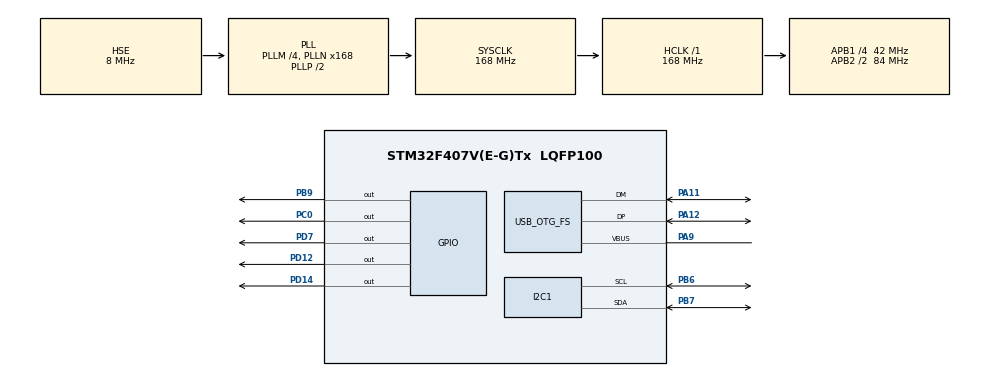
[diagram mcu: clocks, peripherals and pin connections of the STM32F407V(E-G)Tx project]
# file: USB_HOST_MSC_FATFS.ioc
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FATFS._MAX_SS=4096
Mcu.Family=STM32F4
Mcu.Name=STM32F407V(E-G)Tx
Mcu.Package=LQFP100
NVIC.OTG_FS_IRQn=true\:0\:0\:false\:false\:true\:true\:true\:true
NVIC.PriorityGroup=NVIC_PRIORITYGROUP_4
PA11.Mode=Host_Only
PA11.Signal=USB_OTG_FS_DM
PA12.Mode=Host_Only
PA12.Signal=USB_OTG_FS_DP
PA9.Mode=Activate_VBUS
PA9.Signal=USB_OTG_FS_VBUS
PB6.GPIO_Pu=GPIO_PULLUP
PB6.Mode=I2C
PB6.Signal=I2C1_SCL
PB7.GPIO_Pu=GPIO_PULLUP
PB7.Mode=I2C
PB7.Signal=I2C1_SDA
PB9.Signal=GPIO_Output
PC0.Signal=GPIO_Output
PD12.Signal=GPIO_Output
PD14.Signal=GPIO_Output
PD7.Signal=GPIO_Output
PH0-OSC_IN.Mode=HSE-External-Oscillator
PH0-OSC_IN.Signal=RCC_OSC_IN
PH1-OSC_OUT.Mode=HSE-External-Oscillator
PH1-OSC_OUT.Signal=RCC_OSC_OUT
ProjectManager.HeapSize=0x200
ProjectManager.StackSize=0x400
ProjectManager.TargetToolchain=MDK-ARM V5
RCC.48MHZClocksFreq_Value=48000000
RCC.AHBFreq_Value=168000000
RCC.APB1CLKDivider=RCC_HCLK_DIV4
RCC.APB1Freq_Value=42000000
RCC.APB1TimFreq_Value=84000000
RCC.APB2CLKDivider=RCC_HCLK_DIV2
RCC.APB2Freq_Value=84000000
RCC.APB2TimFreq_Value=168000000
RCC.CortexFreq_Value=168000000
RCC.HCLKFreq_Value=168000000
RCC.HSE_VALUE=8000000
RCC.HSI_VALUE=16000000
RCC.LSE_VALUE=32768
RCC.PLLM=4
RCC.PLLN=168
RCC.PLLQ=7
RCC.SYSCLKFreq_VALUE=168000000
RCC.SYSCLKSource=RCC_SYSCLKSOURCE_PLLCLK
RCC.VCOOutputFreq_Value=336000000
USB_HOST.USBH_HandleTypeDef-MSC_FS=hUsbHostFS
USB_HOST.VirtualModeFS=Msc
USB_OTG_FS.VirtualMode=Host_Only
USB_OTG_FS.phy_itface=HCD_PHY_EMBEDDED
VP_FATFS_VS_USB.Mode=USB
VP_USB_HOST_VS_USB_HOST_MSC_FS.Mode=MSC_FS
board=USB_HOST_MSC_FATFS

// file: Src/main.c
/* USER CODE BEGIN Header */
/**
  ******************************************************************************
  * @file           : main.c
  * @brief          : Main program body
  ******************************************************************************
  * @attention
  *
  * Copyright (c) 2023 STMicroelectronics.
  * All rights reserved.
  *
  * This software is licensed under terms that can be found in the LICENSE file
  * in the root directory of this software component.
  * If no LICENSE file comes with this software, it is provided AS-IS.
  *
  ******************************************************************************
  */
/* USER CODE END Header */
#include "main.h"
#include "fatfs.h"
#include "usb_host.h"

/* USER CODE BEGIN Includes */
#include "main.h"
/* USER CODE END Includes */

I2C_HandleTypeDef hi2c1;

/* USER CODE BEGIN PV */
/* Private variables ---------------------------------------------------------*/
extern ApplicationTypeDef Appli_state;
FATFS USBDISKFatFs;
FIL MyFile;
extern USBH_HandleTypeDef hUsbHostFS;
/* USER CODE END PV */

void SystemClock_Config(void);
static void MX_GPIO_Init(void);
static void MX_I2C1_Init(void);
void MX_USB_HOST_Process(void);

/* USER CODE BEGIN PFP */
/* Private function prototypes -----------------------------------------------*/

/* USER CODE END PFP */

/* USER CODE BEGIN 0 */
void FileReadWrite(void)
{
	FRESULT res;
	uint32_t byteswritten, bytesread;
	uint8_t rtext[100];
	uint8_t wtext[]="Hello from STM32!!!!!!";

	if(f_mount(&USBDISKFatFs,/*(TCHAR const*)USBH_Path*/ 0,0)!=FR_OK)
	{
		Error_Handler();
	}
	else
	{
		if(f_open(&MyFile,"1234.txt",FA_CREATE_ALWAYS|FA_WRITE)!=FR_OK)
		{
			Error_Handler();
		}
		else
		{
			res = f_write(&MyFile,wtext,sizeof(wtext),(void*)byteswritten);
			if((byteswritten==0)||(res!=FR_OK))
			{
				Error_Handler();
			}
			else
			{
				f_close(&MyFile);
				HAL_GPIO_WritePin(GPIOD, GPIO_PIN_12, GPIO_PIN_SET);
			}
		}
	}
	//Read
//	if(f_mount(&USBDISKFatFs,(TCHAR const*)USBH_Path,0)!=FR_OK)
//	{
//		Error_Handler();
//	}
//	else
//	{
//		if(f_open(&MyFile,"123.txt",FA_READ)!=FR_OK)
//		{
//			Error_Handler();
//		}
//		else
//		{
//			res = f_read(&MyFile,rtext,sizeof(rtext),(void*)bytesread);
//			if((bytesread==0)||(res!=FR_OK))
//			{
//				Error_Handler();
//			}
//			else
//			{
//				LCD_Clear();
//				LCD_SetPos(0,0);
//				rtext[bytesread]=0;//������� ����, ��������� �� ���������
//				LCD_String((char*)rtext);
//				f_close(&MyFile);
//			}
//		}
//	}
}
/* USER CODE END 0 */

int main(void)
{
  /* USER CODE BEGIN 1 */
	char str[100];
  /* USER CODE END 1 */

  /* MCU Configuration--------------------------------------------------------*/

  /* Reset of all peripherals, Initializes the Flash interface and the Systick. */
  HAL_Init();

  /* Configure the system clock */
  SystemClock_Config();

  /* Initialize all configured peripherals */
  MX_GPIO_Init();
  MX_I2C1_Init();
  MX_FATFS_Init();
  MX_USB_HOST_Init();
  /* USER CODE BEGIN 2 */
	//LCD_ini();
	//LCD_Clear();
  /* USER CODE END 2 */

  /* Infinite loop */
  while (1)
  {
    MX_USB_HOST_Process();

    /* USER CODE BEGIN 3 */
		if(Appli_state==APPLICATION_START)
		{
			FileReadWrite();
		}
		else if(Appli_state==APPLICATION_IDLE)
		{
		}
	}
  /* USER CODE END 3 */
}

void SystemClock_Config(void)
{
  RCC_OscInitTypeDef RCC_OscInitStruct = {0};
  RCC_ClkInitTypeDef RCC_ClkInitStruct = {0};

  /** Configure the main internal regulator output voltage
  */
  __HAL_RCC_PWR_CLK_ENABLE();
  __HAL_PWR_VOLTAGESCALING_CONFIG(PWR_REGULATOR_VOLTAGE_SCALE1);

  /** Initializes the RCC Oscillators according to the specified parameters
  * in the RCC_OscInitTypeDef structure.
  */
  RCC_OscInitStruct.OscillatorType = RCC_OSCILLATORTYPE_HSE;
  RCC_OscInitStruct.HSEState = RCC_HSE_ON;
  RCC_OscInitStruct.PLL.PLLState = RCC_PLL_ON;
  RCC_OscInitStruct.PLL.PLLSource = RCC_PLLSOURCE_HSE;
  RCC_OscInitStruct.PLL.PLLM = 4;
  RCC_OscInitStruct.PLL.PLLN = 168;
  RCC_OscInitStruct.PLL.PLLP = RCC_PLLP_DIV2;
  RCC_OscInitStruct.PLL.PLLQ = 7;
  if (HAL_RCC_OscConfig(&RCC_OscInitStruct) != HAL_OK)
  {
    Error_Handler();
  }

  /** Initializes the CPU, AHB and APB buses clocks
  */
  RCC_ClkInitStruct.ClockType = RCC_CLOCKTYPE_HCLK|RCC_CLOCKTYPE_SYSCLK
                              |RCC_CLOCKTYPE_PCLK1|RCC_CLOCKTYPE_PCLK2;
  RCC_ClkInitStruct.SYSCLKSource = RCC_SYSCLKSOURCE_PLLCLK;
  RCC_ClkInitStruct.AHBCLKDivider = RCC_SYSCLK_DIV1;
  RCC_ClkInitStruct.APB1CLKDivider = RCC_HCLK_DIV4;
  RCC_ClkInitStruct.APB2CLKDivider = RCC_HCLK_DIV2;

  if (HAL_RCC_ClockConfig(&RCC_ClkInitStruct, FLASH_LATENCY_5) != HAL_OK)
  {
    Error_Handler();
  }
}

static void MX_I2C1_Init(void)
{

  hi2c1.Instance = I2C1;
  hi2c1.Init.ClockSpeed = 100000;
  hi2c1.Init.DutyCycle = I2C_DUTYCYCLE_2;
  hi2c1.Init.OwnAddress1 = 0;
  hi2c1.Init.AddressingMode = I2C_ADDRESSINGMODE_7BIT;
  hi2c1.Init.DualAddressMode = I2C_DUALADDRESS_DISABLE;
  hi2c1.Init.OwnAddress2 = 0;
  hi2c1.Init.GeneralCallMode = I2C_GENERALCALL_DISABLE;
  hi2c1.Init.NoStretchMode = I2C_NOSTRETCH_DISABLE;
  if (HAL_I2C_Init(&hi2c1) != HAL_OK)
  {
    Error_Handler();
  }

}

static void MX_GPIO_Init(void)
{
  GPIO_InitTypeDef GPIO_InitStruct = {0};

  /* GPIO Ports Clock Enable */
  __HAL_RCC_GPIOH_CLK_ENABLE();
  __HAL_RCC_GPIOC_CLK_ENABLE();
  __HAL_RCC_GPIOD_CLK_ENABLE();
  __HAL_RCC_GPIOA_CLK_ENABLE();
  __HAL_RCC_GPIOB_CLK_ENABLE();

  /*Configure GPIO pin Output Level */
  HAL_GPIO_WritePin(GPIOC, GPIO_PIN_0, GPIO_PIN_RESET);

  /*Configure GPIO pin Output Level */
  HAL_GPIO_WritePin(GPIOD, GPIO_PIN_12|GPIO_PIN_14|GPIO_PIN_7, GPIO_PIN_RESET);

  /*Configure GPIO pin Output Level */
  HAL_GPIO_WritePin(GPIOB, GPIO_PIN_9, GPIO_PIN_RESET);

  /*Configure GPIO pin : PC0 */
  GPIO_InitStruct.Pin = GPIO_PIN_0;
  GPIO_InitStruct.Mode = GPIO_MODE_OUTPUT_PP;
  GPIO_InitStruct.Pull = GPIO_NOPULL;
  GPIO_InitStruct.Speed = GPIO_SPEED_FREQ_LOW;
  HAL_GPIO_Init(GPIOC, &GPIO_InitStruct);

  /*Configure GPIO pins : PD12 PD14 PD7 */
  GPIO_InitStruct.Pin = GPIO_PIN_12|GPIO_PIN_14|GPIO_PIN_7;
  GPIO_InitStruct.Mode = GPIO_MODE_OUTPUT_PP;
  GPIO_InitStruct.Pull = GPIO_NOPULL;
  GPIO_InitStruct.Speed = GPIO_SPEED_FREQ_LOW;
  HAL_GPIO_Init(GPIOD, &GPIO_InitStruct);

  /*Configure GPIO pin : PB9 */
  GPIO_InitStruct.Pin = GPIO_PIN_9;
  GPIO_InitStruct.Mode = GPIO_MODE_OUTPUT_PP;
  GPIO_InitStruct.Pull = GPIO_NOPULL;
  GPIO_InitStruct.Speed = GPIO_SPEED_FREQ_LOW;
  HAL_GPIO_Init(GPIOB, &GPIO_InitStruct);

}

void Error_Handler(void)
{
  __disable_irq();
  while (1)
  {
  }
}
